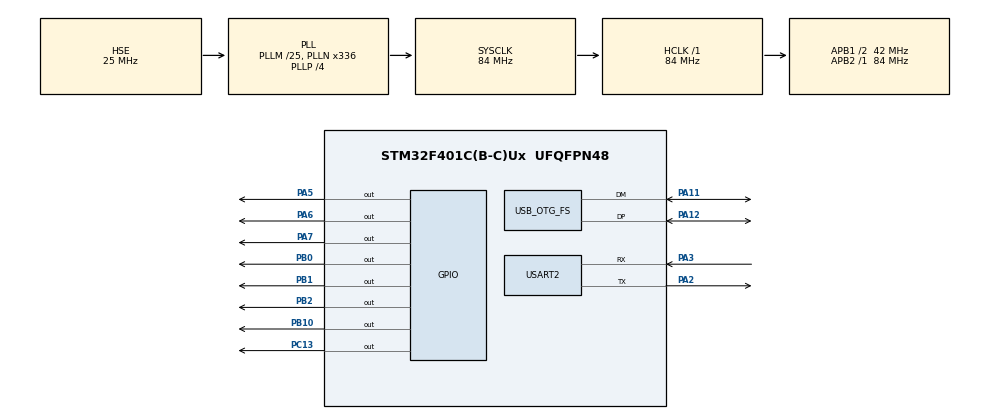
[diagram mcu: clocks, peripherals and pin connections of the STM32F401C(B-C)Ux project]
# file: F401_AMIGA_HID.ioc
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Mcu.Family=STM32F4
RCC.CortexFreq_Value=84000000
PH1\ -\ OSC_OUT.Mode=HSE-External-Oscillator
PA11.Mode=Host_Only
RCC.APB1CLKDivider=RCC_HCLK_DIV2
VP_USB_HOST_VS_USB_HOST_HID_FS.Mode=HID_FS
PC13-ANTI_TAMP.PinState=GPIO_PIN_SET
RCC.SYSCLKSource=RCC_SYSCLKSOURCE_PLLCLK
ProjectManager.StackSize=0x400
PA13.Signal=SYS_JTMS-SWDIO
PA3.Mode=Asynchronous
PA12.Signal=USB_OTG_FS_DP
PH0\ -\ OSC_IN.Mode=HSE-External-Oscillator
PH0\ -\ OSC_IN.Signal=RCC_OSC_IN
ProjectManager.TargetToolchain=STM32CubeIDE
RCC.HCLKFreq_Value=84000000
RCC.APB2TimFreq_Value=84000000
RCC.LSE_VALUE=32768
RCC.AHBFreq_Value=84000000
PB10.Signal=GPIO_Output
PA5.Signal=GPIO_Output
RCC.HSE_VALUE=25000000
USB_OTG_FS.phy_itface=HCD_PHY_EMBEDDED
PH1\ -\ OSC_OUT.Signal=RCC_OSC_OUT
PB2.Signal=GPIO_Output
board=custom
PC13-ANTI_TAMP.Signal=GPIO_Output
RCC.VCOOutputFreq_Value=336000000
USB_HOST.VirtualModeFS=Hid
RCC.APB2Freq_Value=84000000
PA14.Mode=Serial_Wire
PA13.Mode=Serial_Wire
Mcu.Name=STM32F401C(B-C)Ux
PA2.Signal=USART2_TX
RCC.48MHZClocksFreq_Value=48000000
RCC.SYSCLKFreq_VALUE=84000000
Mcu.Package=UFQFPN48
PB1.Signal=GPIO_Output
PA6.Signal=GPIO_Output
PA12.Mode=Host_Only
USART2.VirtualMode=VM_ASYNC
NVIC.OTG_FS_IRQn=true\:0\:0\:false\:false\:true\:false\:true
PA11.Signal=USB_OTG_FS_DM
PA14.Signal=SYS_JTCK-SWCLK
USB_OTG_FS.VirtualMode=Host_Only
ProjectManager.HeapSize=0x200
RCC.HSI_VALUE=16000000
USB_HOST.USBH_HandleTypeDef=hUsbHostFS
RCC.PLLP=RCC_PLLP_DIV4
RCC.PLLQ=7
NVIC.PriorityGroup=NVIC_PRIORITYGROUP_4
RCC.PLLM=25
RCC.PLLN=336
RCC.APB1TimFreq_Value=84000000
PA2.Mode=Asynchronous
RCC.APB1Freq_Value=42000000
PB0.Signal=GPIO_Output
PA3.Signal=USART2_RX
PA7.Signal=GPIO_Output

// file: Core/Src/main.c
/* USER CODE BEGIN Header */
/**
  ******************************************************************************
  * @file           : main.c
  * @brief          : Main program body
  ******************************************************************************
  * @attention
  *
  * <h2><center>&copy; Copyright (c) 2021 STMicroelectronics.
  * All rights reserved.</center></h2>
  *
  * This software component is licensed by ST under Ultimate Liberty license
  * SLA0044, the "License"; You may not use this file except in compliance with
  * the License. You may obtain a copy of the License at:
  *                             www.st.com/SLA0044
  *
  ******************************************************************************
  */
/* USER CODE END Header */
#include "main.h"
#include "usb_host.h"

/* USER CODE BEGIN Includes */
#include "usbh_hid.h"
#include "stdio.h"
#include "dwt_stm32_delay.h"
/* USER CODE END Includes */

/* USER CODE BEGIN PD */

#define ADELAY  150

// V_PULSE  PA5
// H_PULSE  PA6
// VQ_PLSE  PA7
// HQ_PLSE  PB0

// LMB      PB1
// RMB      PB2
// MMB      PB10

/* USER CODE END PD */

UART_HandleTypeDef huart2;

void SystemClock_Config(void);
static void MX_GPIO_Init(void);
static void MX_USART2_UART_Init(void);
void MX_USB_HOST_Process(void);

/* USER CODE BEGIN PFP */
void LeftButtonUp(void);
void LeftButtonDown(void);
void RightButtonUp(void);
void RightButtonDown(void);
void MiddleButtonUp(void);
void MiddleButtonDown(void);

void AMIGAHorizontalMove(void);
void AMIGAVerticalMove(void);

void AMIGA_Left(void);
void AMIGA_Right(void);
void AMIGA_Down(void);
void AMIGA_Up(void);

/* USER CODE END PFP */

/* USER CODE BEGIN 0 */

uint8_t H[4]  = { GPIO_PIN_RESET, GPIO_PIN_RESET, GPIO_PIN_SET, GPIO_PIN_SET};
uint8_t HQ[4] = { GPIO_PIN_RESET, GPIO_PIN_SET, GPIO_PIN_SET, GPIO_PIN_RESET};

uint8_t QX = 3;
uint8_t QY = 3;

uint8_t XSTEPS;
uint8_t YSTEPS;
uint8_t XSIGN;
uint8_t YSIGN;

char Uart_Buf[100];

int16_t data[3];

void USBH_HID_EventCallback(USBH_HandleTypeDef *phost)
{
	if(USBH_HID_GetDeviceType(phost) == HID_MOUSE)  // if the HID is Mouse
	{
		HID_MOUSE_Info_TypeDef *Mouse_Info;
		Mouse_Info = USBH_HID_GetMouseInfo(phost);  // Get the info
		int16_t X_Val = Mouse_Info->x;  // get the x value
		int16_t Y_Val = Mouse_Info->y;  // get the y value
		if (X_Val > 127) X_Val -= 255;
		if (Y_Val > 127) Y_Val -= 255;
		//int len = sprintf (Uart_Buf, "X=%d, Y=%d, Button1=%d, Button2=%d, Button3=%d\n\n", X_Val, Y_Val, Mouse_Info->buttons[0],Mouse_Info->buttons[1], Mouse_Info->buttons[2]);
		//HAL_UART_Transmit(&huart2, (uint8_t *) Uart_Buf, len, 100);
	    //HAL_GPIO_TogglePin (GPIOC, GPIO_PIN_13);
	    //HAL_GPIO_TogglePin (GPIOC, GPIO_PIN_13);

	    data[0] = 0;
	    if(Mouse_Info->buttons[0]) { data[0] |= 1UL << 0;}
	    if(Mouse_Info->buttons[1]) { data[0] |= 1UL << 1;}
	    if(Mouse_Info->buttons[2]) { data[0] |= 1UL << 2;}
	    data[1] = X_Val;
	    data[2] = Y_Val;
	}
}

void LeftButtonUp() {
    HAL_GPIO_WritePin(GPIOB, GPIO_PIN_1, GPIO_PIN_SET);
}
void LeftButtonDown() {
    HAL_GPIO_WritePin(GPIOB, GPIO_PIN_1, GPIO_PIN_RESET);
}
void RightButtonUp() {
    HAL_GPIO_WritePin(GPIOB, GPIO_PIN_2, GPIO_PIN_SET);
}
void RightButtonDown() {
    HAL_GPIO_WritePin(GPIOB, GPIO_PIN_2, GPIO_PIN_RESET);
}
void MiddleButtonUp() {
    HAL_GPIO_WritePin(GPIOB, GPIO_PIN_10, GPIO_PIN_SET);
}
void MiddleButtonDown() {
    HAL_GPIO_WritePin(GPIOB, GPIO_PIN_10, GPIO_PIN_RESET);
}

void AMIGAHorizontalMove() {

    // set bits acc. to curr. position in quadr. sequence
    //digitalWrite(H_PULSE, H[QX]);
	HAL_GPIO_WritePin(GPIOA, GPIO_PIN_6, H[QX]);

    //digitalWrite(HQ_PLSE, HQ[QX]);
    HAL_GPIO_WritePin(GPIOB, GPIO_PIN_0, HQ[QX]);

    DWT_Delay_us(ADELAY);
}

void AMIGAVerticalMove() {

    //digitalWrite(V_PULSE, H[QY]);
	HAL_GPIO_WritePin(GPIOA, GPIO_PIN_5, H[QY]);

    //digitalWrite(VQ_PLSE, HQ[QY]);
	HAL_GPIO_WritePin(GPIOA, GPIO_PIN_7, HQ[QY]);

	DWT_Delay_us(ADELAY);
}

void AMIGA_Left() {

    // do a move by setting the port
    AMIGAHorizontalMove();
    // advance in the quadr. sequence
    QX = (QX >= 3) ? 0 : ++QX;
}

void AMIGA_Right() {
    AMIGAHorizontalMove();
    QX = (QX <= 0) ? 3 : --QX;
}

void AMIGA_Down() {
    AMIGAVerticalMove();
    //QY = QY <= 0 ? 3 : --QY;
    QY = QY >= 3 ? 0 : ++QY;
}

void AMIGA_Up() {
    AMIGAVerticalMove();
    //QY = QY >= 3 ? 0 : ++QY;
    QY = QY <= 0 ? 3 : --QY;
}

/* USER CODE END 0 */

int main(void)
{

  /* MCU Configuration--------------------------------------------------------*/

  /* Reset of all peripherals, Initializes the Flash interface and the Systick. */
  HAL_Init();

  /* Configure the system clock */
  SystemClock_Config();

  /* Initialize all configured peripherals */
  MX_GPIO_Init();
  MX_USB_HOST_Init();
  MX_USART2_UART_Init();
  /* USER CODE BEGIN 2 */

  if(DWT_Delay_Init())
  {
  Error_Handler(); /* Call Error Handler */
  }

  // Set quadrature output pins to zero
  HAL_GPIO_WritePin(GPIOA, GPIO_PIN_6, GPIO_PIN_RESET);
  HAL_GPIO_WritePin(GPIOB, GPIO_PIN_0, GPIO_PIN_RESET);
  HAL_GPIO_WritePin(GPIOA, GPIO_PIN_5, GPIO_PIN_RESET);
  HAL_GPIO_WritePin(GPIOA, GPIO_PIN_7, GPIO_PIN_RESET);

  // Set mouse button output pins to on, coz they are inverted
  HAL_GPIO_WritePin(GPIOB, GPIO_PIN_1, GPIO_PIN_SET);
  HAL_GPIO_WritePin(GPIOB, GPIO_PIN_2, GPIO_PIN_SET);
  HAL_GPIO_WritePin(GPIOB, GPIO_PIN_10, GPIO_PIN_SET);

  data[0]=0;
  /* USER CODE END 2 */

  /* Infinite loop */
  while (1)
  {
    MX_USB_HOST_Process();

    /* USER CODE BEGIN 3 */

    __disable_irq();
    // handle buttons
    //

    if( data[0] & 1)
      LeftButtonDown();
    else
      LeftButtonUp();

    if( data[0] & 2)
      RightButtonDown();
    else
      RightButtonUp();

    if( data[0] & 4)
      MiddleButtonDown();
    else
      MiddleButtonUp();

    // calc x/y movement
    //
    XSTEPS = abs(data[1]);
    YSTEPS = abs(data[2]);
    XSIGN = (data[1] > 0 ? 1 : 0) ;
    YSIGN = (data[2] > 0 ? 1 : 0) ;

    // handle x/y movement
    //
    while ((XSTEPS | YSTEPS) != 0) {

        // steps left?
        if (XSTEPS != 0) {

            // direction
            if (XSIGN)
                AMIGA_Right();
            else
                AMIGA_Left();

            // decrease steps
            XSTEPS--;
        }

        if (YSTEPS != 0) {
            if (YSIGN)
                AMIGA_Up();
            else
               AMIGA_Down();
            YSTEPS--;
        }
    }
    data[1]=0;
    data[2]=0;
    __enable_irq();
  }
  /* USER CODE END 3 */
}

void SystemClock_Config(void)
{
  RCC_OscInitTypeDef RCC_OscInitStruct = {0};
  RCC_ClkInitTypeDef RCC_ClkInitStruct = {0};

  /** Configure the main internal regulator output voltage
  */
  __HAL_RCC_PWR_CLK_ENABLE();
  __HAL_PWR_VOLTAGESCALING_CONFIG(PWR_REGULATOR_VOLTAGE_SCALE2);
  /** Initializes the RCC Oscillators according to the specified parameters
  * in the RCC_OscInitTypeDef structure.
  */
  RCC_OscInitStruct.OscillatorType = RCC_OSCILLATORTYPE_HSE;
  RCC_OscInitStruct.HSEState = RCC_HSE_ON;
  RCC_OscInitStruct.PLL.PLLState = RCC_PLL_ON;
  RCC_OscInitStruct.PLL.PLLSource = RCC_PLLSOURCE_HSE;
  RCC_OscInitStruct.PLL.PLLM = 25;
  RCC_OscInitStruct.PLL.PLLN = 336;
  RCC_OscInitStruct.PLL.PLLP = RCC_PLLP_DIV4;
  RCC_OscInitStruct.PLL.PLLQ = 7;
  if (HAL_RCC_OscConfig(&RCC_OscInitStruct) != HAL_OK)
  {
    Error_Handler();
  }
  /** Initializes the CPU, AHB and APB buses clocks
  */
  RCC_ClkInitStruct.ClockType = RCC_CLOCKTYPE_HCLK|RCC_CLOCKTYPE_SYSCLK
                              |RCC_CLOCKTYPE_PCLK1|RCC_CLOCKTYPE_PCLK2;
  RCC_ClkInitStruct.SYSCLKSource = RCC_SYSCLKSOURCE_PLLCLK;
  RCC_ClkInitStruct.AHBCLKDivider = RCC_SYSCLK_DIV1;
  RCC_ClkInitStruct.APB1CLKDivider = RCC_HCLK_DIV2;
  RCC_ClkInitStruct.APB2CLKDivider = RCC_HCLK_DIV1;

  if (HAL_RCC_ClockConfig(&RCC_ClkInitStruct, FLASH_LATENCY_2) != HAL_OK)
  {
    Error_Handler();
  }
}

static void MX_USART2_UART_Init(void)
{

  huart2.Instance = USART2;
  huart2.Init.BaudRate = 115200;
  huart2.Init.WordLength = UART_WORDLENGTH_8B;
  huart2.Init.StopBits = UART_STOPBITS_1;
  huart2.Init.Parity = UART_PARITY_NONE;
  huart2.Init.Mode = UART_MODE_TX_RX;
  huart2.Init.HwFlowCtl = UART_HWCONTROL_NONE;
  huart2.Init.OverSampling = UART_OVERSAMPLING_16;
  if (HAL_UART_Init(&huart2) != HAL_OK)
  {
    Error_Handler();
  }

}

static void MX_GPIO_Init(void)
{
  GPIO_InitTypeDef GPIO_InitStruct = {0};

  /* GPIO Ports Clock Enable */
  __HAL_RCC_GPIOC_CLK_ENABLE();
  __HAL_RCC_GPIOH_CLK_ENABLE();
  __HAL_RCC_GPIOA_CLK_ENABLE();
  __HAL_RCC_GPIOB_CLK_ENABLE();

  /*Configure GPIO pin Output Level */
  HAL_GPIO_WritePin(GPIOC, GPIO_PIN_13, GPIO_PIN_SET);

  /*Configure GPIO pin Output Level */
  HAL_GPIO_WritePin(GPIOA, GPIO_PIN_5|GPIO_PIN_6|GPIO_PIN_7, GPIO_PIN_RESET);

  /*Configure GPIO pin Output Level */
  HAL_GPIO_WritePin(GPIOB, GPIO_PIN_0|GPIO_PIN_1|GPIO_PIN_2|GPIO_PIN_10, GPIO_PIN_RESET);

  /*Configure GPIO pin : PC13 */
  GPIO_InitStruct.Pin = GPIO_PIN_13;
  GPIO_InitStruct.Mode = GPIO_MODE_OUTPUT_PP;
  GPIO_InitStruct.Pull = GPIO_NOPULL;
  GPIO_InitStruct.Speed = GPIO_SPEED_FREQ_LOW;
  HAL_GPIO_Init(GPIOC, &GPIO_InitStruct);

  /*Configure GPIO pins : PA5 PA6 PA7 */
  GPIO_InitStruct.Pin = GPIO_PIN_5|GPIO_PIN_6|GPIO_PIN_7;
  GPIO_InitStruct.Mode = GPIO_MODE_OUTPUT_PP;
  GPIO_InitStruct.Pull = GPIO_NOPULL;
  GPIO_InitStruct.Speed = GPIO_SPEED_FREQ_LOW;
  HAL_GPIO_Init(GPIOA, &GPIO_InitStruct);

  /*Configure GPIO pins : PB0 PB1 PB2 PB10 */
  GPIO_InitStruct.Pin = GPIO_PIN_0|GPIO_PIN_1|GPIO_PIN_2|GPIO_PIN_10;
  GPIO_InitStruct.Mode = GPIO_MODE_OUTPUT_PP;
  GPIO_InitStruct.Pull = GPIO_NOPULL;
  GPIO_InitStruct.Speed = GPIO_SPEED_FREQ_LOW;
  HAL_GPIO_Init(GPIOB, &GPIO_InitStruct);

}

void Error_Handler(void)
{
  __disable_irq();
  while (1)
  {
  }
}

/************************ (C) COPYRIGHT STMicroelectronics *****END OF FILE****/
